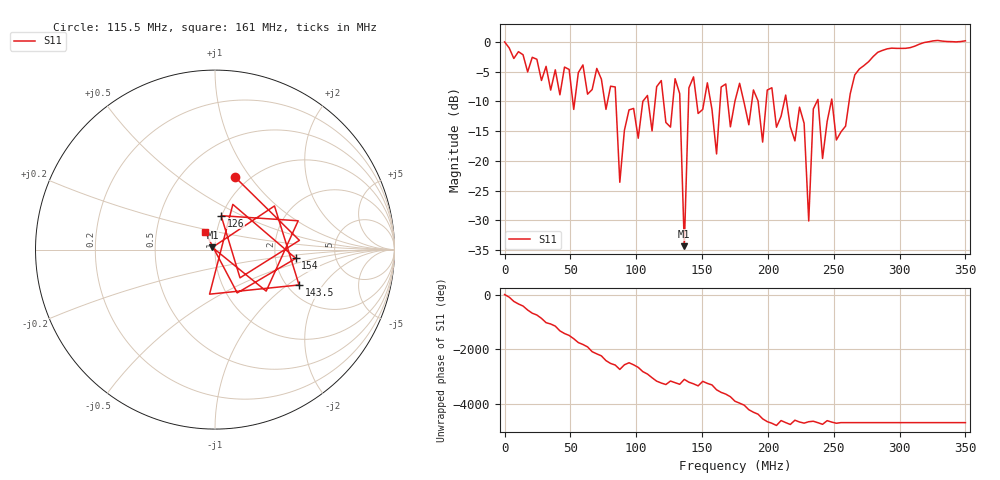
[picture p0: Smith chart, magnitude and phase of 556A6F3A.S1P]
!File created by NanoVNA
# Hz S RI R 50
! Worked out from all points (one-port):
!   101 points, 50 kHz to 350 MHz, reference 50 ohm
!   lowest |S11| = -34.4 dB at 136.5 MHz (marker M1), VSWR 1.04, Z = 48.5 + j1.2 ohm
!   |S11| at or under -10 dB: 84.57 MHz to 105 MHz (20.46 MHz wide, 21.6 % of centre); 214.2 MHz to 237.3 MHz (23.07 MHz wide, 10.2 % of centre); 248.7 MHz to 261.7 MHz (12.99 MHz wide, 5.09 % of centre) (the widest 3 of 15)
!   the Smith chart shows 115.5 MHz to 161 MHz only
!   S11 on the Smith chart (normalised r, x): 115.5 MHz: 0.86, +0.85; 126 MHz: 0.99, +0.39; 143.5 MHz: 2.31, -1.23; 154 MHz: 2.61, -0.32; 161 MHz: 0.88, +0.18
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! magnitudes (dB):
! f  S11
! 50 kHz  0.0
! 45.54 MHz  -4.2
! 52.54 MHz  -11.4
! 84.04 MHz  -7.6
! 87.54 MHz  -23.6
! 94.54 MHz  -11.4
! 112 MHz  -15.0
! 115.5 MHz  -7.5
! 126 MHz  -14.3
! 133 MHz  -8.7
! 136.5 MHz  -34.4
! 140 MHz  -7.7
! 143.5 MHz  -5.9
! 154 MHz  -6.9
! 161 MHz  -18.8
! 164.5 MHz  -7.6
! 175 MHz  -9.9
! 196 MHz  -16.8
! 199.5 MHz  -8.1
! 213.5 MHz  -8.9
! 220.5 MHz  -16.6
! 227.5 MHz  -13.7
! 231 MHz  -30.1
! 234.5 MHz  -11.3
! 241.5 MHz  -19.6
! 262.5 MHz  -8.7
! 308 MHz  -1.0
! 350 MHz  0.2
